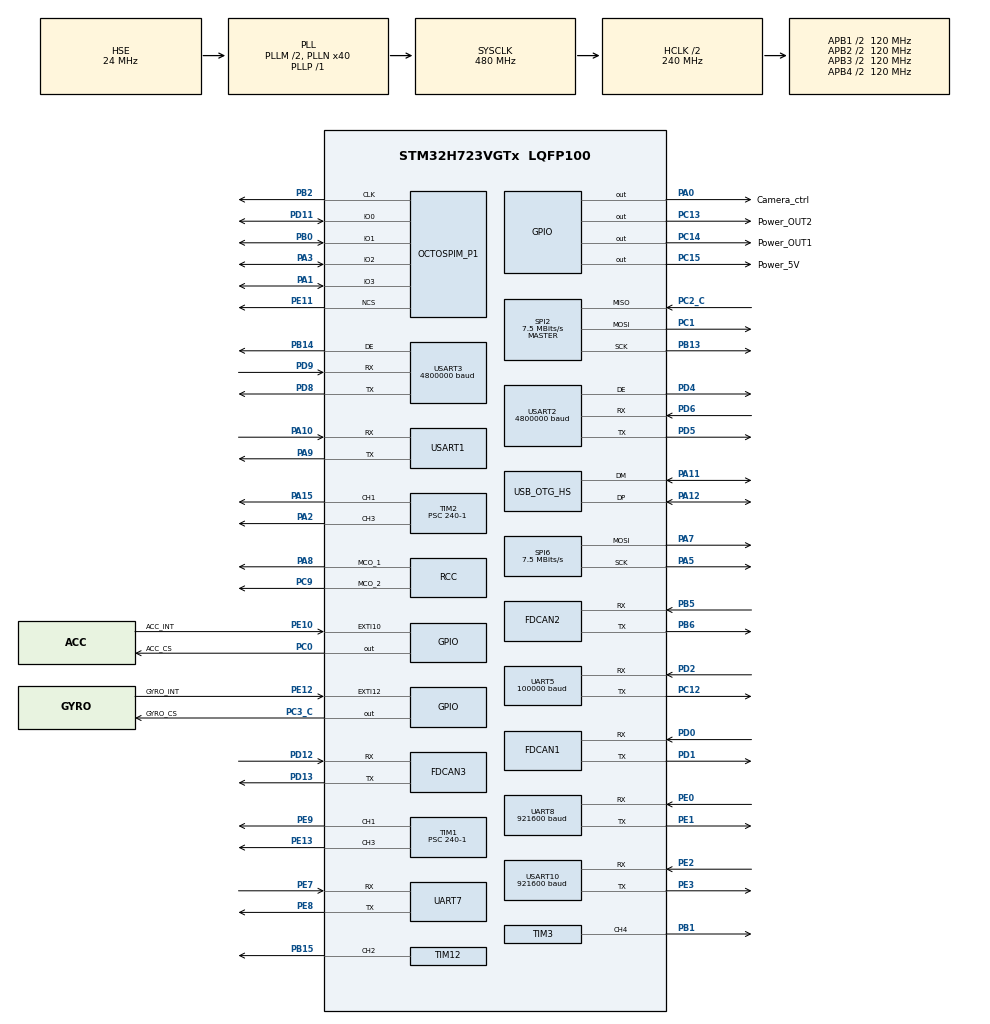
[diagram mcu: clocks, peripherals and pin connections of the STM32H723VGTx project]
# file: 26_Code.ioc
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CORTEX_M7.AccessPermission-Cortex_Memory_Protection_Unit_Region0_Settings=MPU_REGION_PRIV_RO
CORTEX_M7.AccessPermission-Cortex_Memory_Protection_Unit_Region1_Settings=MPU_REGION_FULL_ACCESS
CORTEX_M7.BaseAddress-Cortex_Memory_Protection_Unit_Region0_Settings=0x08000000
CORTEX_M7.BaseAddress-Cortex_Memory_Protection_Unit_Region1_Settings=0x20000000
CORTEX_M7.Enable-Cortex_Memory_Protection_Unit_Region0_Settings=MPU_REGION_ENABLE
CORTEX_M7.Enable-Cortex_Memory_Protection_Unit_Region1_Settings=MPU_REGION_ENABLE
CORTEX_M7.IsCacheable-Cortex_Memory_Protection_Unit_Region0_Settings=MPU_ACCESS_CACHEABLE
CORTEX_M7.MPU_Control=MPU_PRIVILEGED_DEFAULT
CORTEX_M7.Number-Cortex_Memory_Protection_Unit_Region1_Settings=MPU_REGION_NUMBER1
CORTEX_M7.Number-Cortex_Memory_Protection_Unit_Region2_Settings=MPU_REGION_NUMBER2
CORTEX_M7.Number-Cortex_Memory_Protection_Unit_Region3_Settings=MPU_REGION_NUMBER3
CORTEX_M7.Number-Cortex_Memory_Protection_Unit_Region4_Settings=MPU_REGION_NUMBER4
CORTEX_M7.Size-Cortex_Memory_Protection_Unit_Region0_Settings=MPU_REGION_SIZE_1MB
CORTEX_M7.Size-Cortex_Memory_Protection_Unit_Region1_Settings=MPU_REGION_SIZE_128MB
CORTEX_M7.SubRegionDisable-Cortex_Memory_Protection_Unit_Region1_Settings=0xEE
CORTEX_M7.TypeExtField-Cortex_Memory_Protection_Unit_Region0_Settings=MPU_TEX_LEVEL1
CORTEX_M7.TypeExtField-Cortex_Memory_Protection_Unit_Region1_Settings=MPU_TEX_LEVEL1
Dma.Request0=SPI2_RX
Dma.Request1=SPI2_TX
Dma.Request10=USART2_TX
Dma.Request11=USART1_RX
Dma.Request12=USART1_TX
Dma.Request13=UART8_RX
Dma.Request2=UART5_RX
Dma.Request3=UART7_RX
Dma.Request4=UART7_TX
Dma.Request5=USART10_RX
Dma.Request6=USART10_TX
Dma.Request7=USART3_RX
Dma.Request8=USART3_TX
Dma.Request9=USART2_RX
Dma.SPI2_RX.0.Direction=DMA_PERIPH_TO_MEMORY
Dma.SPI2_RX.0.EventEnable=DISABLE
Dma.SPI2_RX.0.FIFOMode=DMA_FIFOMODE_DISABLE
Dma.SPI2_RX.0.Instance=DMA1_Stream0
Dma.SPI2_RX.0.MemDataAlignment=DMA_MDATAALIGN_BYTE
Dma.SPI2_RX.0.MemInc=DMA_MINC_ENABLE
Dma.SPI2_RX.0.Mode=DMA_NORMAL
Dma.SPI2_RX.0.PeriphDataAlignment=DMA_PDATAALIGN_BYTE
Dma.SPI2_RX.0.PeriphInc=DMA_PINC_DISABLE
Dma.SPI2_RX.0.Polarity=HAL_DMAMUX_REQ_GEN_RISING
Dma.SPI2_RX.0.Priority=DMA_PRIORITY_VERY_HIGH
Dma.SPI2_RX.0.RequestNumber=1
Dma.SPI2_RX.0.SignalID=NONE
Dma.SPI2_RX.0.SyncEnable=DISABLE
Dma.SPI2_RX.0.SyncPolarity=HAL_DMAMUX_SYNC_NO_EVENT
Dma.SPI2_RX.0.SyncRequestNumber=1
Dma.SPI2_RX.0.SyncSignalID=NONE
Dma.SPI2_TX.1.Direction=DMA_MEMORY_TO_PERIPH
Dma.SPI2_TX.1.EventEnable=DISABLE
Dma.SPI2_TX.1.FIFOMode=DMA_FIFOMODE_DISABLE
Dma.SPI2_TX.1.Instance=DMA1_Stream1
Dma.SPI2_TX.1.MemDataAlignment=DMA_MDATAALIGN_BYTE
Dma.SPI2_TX.1.MemInc=DMA_MINC_ENABLE
Dma.SPI2_TX.1.Mode=DMA_NORMAL
Dma.SPI2_TX.1.PeriphDataAlignment=DMA_PDATAALIGN_BYTE
Dma.SPI2_TX.1.PeriphInc=DMA_PINC_DISABLE
Dma.SPI2_TX.1.Polarity=HAL_DMAMUX_REQ_GEN_RISING
Dma.SPI2_TX.1.Priority=DMA_PRIORITY_VERY_HIGH
Dma.SPI2_TX.1.RequestNumber=1
Dma.SPI2_TX.1.SignalID=NONE
Dma.SPI2_TX.1.SyncEnable=DISABLE
Dma.SPI2_TX.1.SyncPolarity=HAL_DMAMUX_SYNC_NO_EVENT
Dma.SPI2_TX.1.SyncRequestNumber=1
Dma.SPI2_TX.1.SyncSignalID=NONE
Dma.UART5_RX.2.Direction=DMA_PERIPH_TO_MEMORY
Dma.UART5_RX.2.EventEnable=DISABLE
Dma.UART5_RX.2.FIFOMode=DMA_FIFOMODE_DISABLE
Dma.UART5_RX.2.Instance=DMA1_Stream2
Dma.UART5_RX.2.MemDataAlignment=DMA_MDATAALIGN_BYTE
Dma.UART5_RX.2.MemInc=DMA_MINC_ENABLE
Dma.UART5_RX.2.Mode=DMA_NORMAL
Dma.UART5_RX.2.PeriphDataAlignment=DMA_PDATAALIGN_BYTE
Dma.UART5_RX.2.PeriphInc=DMA_PINC_DISABLE
Dma.UART5_RX.2.Polarity=HAL_DMAMUX_REQ_GEN_RISING
Dma.UART5_RX.2.Priority=DMA_PRIORITY_VERY_HIGH
Dma.UART5_RX.2.RequestNumber=1
Dma.UART5_RX.2.SignalID=NONE
Dma.UART5_RX.2.SyncEnable=DISABLE
Dma.UART5_RX.2.SyncPolarity=HAL_DMAMUX_SYNC_NO_EVENT
Dma.UART5_RX.2.SyncRequestNumber=1
Dma.UART5_RX.2.SyncSignalID=NONE
Dma.UART7_RX.3.Direction=DMA_PERIPH_TO_MEMORY
Dma.UART7_RX.3.EventEnable=DISABLE
Dma.UART7_RX.3.FIFOMode=DMA_FIFOMODE_DISABLE
Dma.UART7_RX.3.Instance=DMA1_Stream3
Dma.UART7_RX.3.MemDataAlignment=DMA_MDATAALIGN_BYTE
Dma.UART7_RX.3.MemInc=DMA_MINC_ENABLE
Dma.UART7_RX.3.Mode=DMA_NORMAL
Dma.UART7_RX.3.PeriphDataAlignment=DMA_PDATAALIGN_BYTE
Dma.UART7_RX.3.PeriphInc=DMA_PINC_DISABLE
Dma.UART7_RX.3.Polarity=HAL_DMAMUX_REQ_GEN_RISING
Dma.UART7_RX.3.Priority=DMA_PRIORITY_VERY_HIGH
Dma.UART7_RX.3.RequestNumber=1
Dma.UART7_RX.3.SignalID=NONE
Dma.UART7_RX.3.SyncEnable=DISABLE
Dma.UART7_RX.3.SyncPolarity=HAL_DMAMUX_SYNC_NO_EVENT
Dma.UART7_RX.3.SyncRequestNumber=1
Dma.UART7_RX.3.SyncSignalID=NONE
Dma.UART7_TX.4.Direction=DMA_MEMORY_TO_PERIPH
Dma.UART7_TX.4.EventEnable=DISABLE
Dma.UART7_TX.4.FIFOMode=DMA_FIFOMODE_DISABLE
Dma.UART7_TX.4.Instance=DMA1_Stream4
Dma.UART7_TX.4.MemDataAlignment=DMA_MDATAALIGN_BYTE
Dma.UART7_TX.4.MemInc=DMA_MINC_ENABLE
Dma.UART7_TX.4.Mode=DMA_NORMAL
Dma.UART7_TX.4.PeriphDataAlignment=DMA_PDATAALIGN_BYTE
Dma.UART7_TX.4.PeriphInc=DMA_PINC_DISABLE
Dma.UART7_TX.4.Polarity=HAL_DMAMUX_REQ_GEN_RISING
Dma.UART7_TX.4.Priority=DMA_PRIORITY_VERY_HIGH
Dma.UART7_TX.4.RequestNumber=1
Dma.UART7_TX.4.SignalID=NONE
Dma.UART7_TX.4.SyncEnable=DISABLE
Dma.UART7_TX.4.SyncPolarity=HAL_DMAMUX_SYNC_NO_EVENT
Dma.UART7_TX.4.SyncRequestNumber=1
Dma.UART7_TX.4.SyncSignalID=NONE
Dma.UART8_RX.13.Direction=DMA_PERIPH_TO_MEMORY
Dma.UART8_RX.13.EventEnable=DISABLE
Dma.UART8_RX.13.FIFOMode=DMA_FIFOMODE_DISABLE
Dma.UART8_RX.13.Instance=DMA2_Stream5
Dma.UART8_RX.13.MemDataAlignment=DMA_MDATAALIGN_BYTE
Dma.UART8_RX.13.MemInc=DMA_MINC_ENABLE
Dma.UART8_RX.13.Mode=DMA_NORMAL
Dma.UART8_RX.13.PeriphDataAlignment=DMA_PDATAALIGN_BYTE
Dma.UART8_RX.13.PeriphInc=DMA_PINC_DISABLE
Dma.UART8_RX.13.Polarity=HAL_DMAMUX_REQ_GEN_RISING
Dma.UART8_RX.13.Priority=DMA_PRIORITY_VERY_HIGH
Dma.UART8_RX.13.RequestNumber=1
Dma.UART8_RX.13.SignalID=NONE
Dma.UART8_RX.13.SyncEnable=DISABLE
Dma.UART8_RX.13.SyncPolarity=HAL_DMAMUX_SYNC_NO_EVENT
Dma.UART8_RX.13.SyncRequestNumber=1
Dma.UART8_RX.13.SyncSignalID=NONE
Dma.USART10_RX.5.Direction=DMA_PERIPH_TO_MEMORY
Dma.USART10_RX.5.EventEnable=DISABLE
Dma.USART10_RX.5.FIFOMode=DMA_FIFOMODE_DISABLE
Dma.USART10_RX.5.Instance=DMA1_Stream5
Dma.USART10_RX.5.MemDataAlignment=DMA_MDATAALIGN_BYTE
Dma.USART10_RX.5.MemInc=DMA_MINC_ENABLE
Dma.USART10_RX.5.Mode=DMA_NORMAL
Dma.USART10_RX.5.PeriphDataAlignment=DMA_PDATAALIGN_BYTE
Dma.USART10_RX.5.PeriphInc=DMA_PINC_DISABLE
Dma.USART10_RX.5.Polarity=HAL_DMAMUX_REQ_GEN_RISING
Dma.USART10_RX.5.Priority=DMA_PRIORITY_VERY_HIGH
Dma.USART10_RX.5.RequestNumber=1
Dma.USART10_RX.5.SignalID=NONE
Dma.USART10_RX.5.SyncEnable=DISABLE
Dma.USART10_RX.5.SyncPolarity=HAL_DMAMUX_SYNC_NO_EVENT
Dma.USART10_RX.5.SyncRequestNumber=1
Dma.USART10_RX.5.SyncSignalID=NONE
Dma.USART10_TX.6.Direction=DMA_MEMORY_TO_PERIPH
Dma.USART10_TX.6.EventEnable=DISABLE
Dma.USART10_TX.6.FIFOMode=DMA_FIFOMODE_DISABLE
Dma.USART10_TX.6.Instance=DMA1_Stream6
Dma.USART10_TX.6.MemDataAlignment=DMA_MDATAALIGN_BYTE
Dma.USART10_TX.6.MemInc=DMA_MINC_ENABLE
Dma.USART10_TX.6.Mode=DMA_NORMAL
Dma.USART10_TX.6.PeriphDataAlignment=DMA_PDATAALIGN_BYTE
Dma.USART10_TX.6.PeriphInc=DMA_PINC_DISABLE
Dma.USART10_TX.6.Polarity=HAL_DMAMUX_REQ_GEN_RISING
Dma.USART10_TX.6.Priority=DMA_PRIORITY_VERY_HIGH
Dma.USART10_TX.6.RequestNumber=1
Dma.USART10_TX.6.SignalID=NONE
Dma.USART10_TX.6.SyncEnable=DISABLE
Dma.USART10_TX.6.SyncPolarity=HAL_DMAMUX_SYNC_NO_EVENT
Dma.USART10_TX.6.SyncRequestNumber=1
Dma.USART10_TX.6.SyncSignalID=NONE
Dma.USART1_RX.11.Direction=DMA_PERIPH_TO_MEMORY
Dma.USART1_RX.11.EventEnable=DISABLE
Dma.USART1_RX.11.FIFOMode=DMA_FIFOMODE_DISABLE
Dma.USART1_RX.11.Instance=DMA2_Stream3
Dma.USART1_RX.11.MemDataAlignment=DMA_MDATAALIGN_BYTE
Dma.USART1_RX.11.MemInc=DMA_MINC_ENABLE
Dma.USART1_RX.11.Mode=DMA_NORMAL
Dma.USART1_RX.11.PeriphDataAlignment=DMA_PDATAALIGN_BYTE
Dma.USART1_RX.11.PeriphInc=DMA_PINC_DISABLE
Dma.USART1_RX.11.Polarity=HAL_DMAMUX_REQ_GEN_RISING
Dma.USART1_RX.11.Priority=DMA_PRIORITY_LOW
Dma.USART1_RX.11.RequestNumber=1
Dma.USART1_RX.11.SignalID=NONE
Dma.USART1_RX.11.SyncEnable=DISABLE
Dma.USART1_RX.11.SyncPolarity=HAL_DMAMUX_SYNC_NO_EVENT
Dma.USART1_RX.11.SyncRequestNumber=1
Dma.USART1_RX.11.SyncSignalID=NONE
Dma.USART1_TX.12.Direction=DMA_MEMORY_TO_PERIPH
Dma.USART1_TX.12.EventEnable=DISABLE
Dma.USART1_TX.12.FIFOMode=DMA_FIFOMODE_DISABLE
Dma.USART1_TX.12.Instance=DMA2_Stream4
Dma.USART1_TX.12.MemDataAlignment=DMA_MDATAALIGN_BYTE
Dma.USART1_TX.12.MemInc=DMA_MINC_ENABLE
Dma.USART1_TX.12.Mode=DMA_NORMAL
Dma.USART1_TX.12.PeriphDataAlignment=DMA_PDATAALIGN_BYTE
Dma.USART1_TX.12.PeriphInc=DMA_PINC_DISABLE
Dma.USART1_TX.12.Polarity=HAL_DMAMUX_REQ_GEN_RISING
Dma.USART1_TX.12.Priority=DMA_PRIORITY_LOW
Dma.USART1_TX.12.RequestNumber=1
Dma.USART1_TX.12.SignalID=NONE
Dma.USART1_TX.12.SyncEnable=DISABLE
Dma.USART1_TX.12.SyncPolarity=HAL_DMAMUX_SYNC_NO_EVENT
Dma.USART1_TX.12.SyncRequestNumber=1
Dma.USART1_TX.12.SyncSignalID=NONE
Dma.USART2_RX.9.Direction=DMA_PERIPH_TO_MEMORY
Dma.USART2_RX.9.EventEnable=DISABLE
Dma.USART2_RX.9.FIFOMode=DMA_FIFOMODE_DISABLE
Dma.USART2_RX.9.Instance=DMA2_Stream1
Dma.USART2_RX.9.MemDataAlignment=DMA_MDATAALIGN_BYTE
Dma.USART2_RX.9.MemInc=DMA_MINC_ENABLE
Dma.USART2_RX.9.Mode=DMA_NORMAL
Dma.USART2_RX.9.PeriphDataAlignment=DMA_PDATAALIGN_BYTE
Dma.USART2_RX.9.PeriphInc=DMA_PINC_DISABLE
Dma.USART2_RX.9.Polarity=HAL_DMAMUX_REQ_GEN_RISING
Dma.USART2_RX.9.Priority=DMA_PRIORITY_VERY_HIGH
Dma.USART2_RX.9.RequestNumber=1
Dma.USART2_RX.9.SignalID=NONE
Dma.USART2_RX.9.SyncEnable=DISABLE
Dma.USART2_RX.9.SyncPolarity=HAL_DMAMUX_SYNC_NO_EVENT
Dma.USART2_RX.9.SyncRequestNumber=1
Dma.USART2_RX.9.SyncSignalID=NONE
Dma.USART2_TX.10.Direction=DMA_MEMORY_TO_PERIPH
Dma.USART2_TX.10.EventEnable=DISABLE
Dma.USART2_TX.10.FIFOMode=DMA_FIFOMODE_DISABLE
Dma.USART2_TX.10.Instance=DMA2_Stream2
Dma.USART2_TX.10.MemDataAlignment=DMA_MDATAALIGN_BYTE
Dma.USART2_TX.10.MemInc=DMA_MINC_ENABLE
Dma.USART2_TX.10.Mode=DMA_NORMAL
Dma.USART2_TX.10.PeriphDataAlignment=DMA_PDATAALIGN_BYTE
Dma.USART2_TX.10.PeriphInc=DMA_PINC_DISABLE
Dma.USART2_TX.10.Polarity=HAL_DMAMUX_REQ_GEN_RISING
Dma.USART2_TX.10.Priority=DMA_PRIORITY_VERY_HIGH
Dma.USART2_TX.10.RequestNumber=1
Dma.USART2_TX.10.SignalID=NONE
Dma.USART2_TX.10.SyncEnable=DISABLE
Dma.USART2_TX.10.SyncPolarity=HAL_DMAMUX_SYNC_NO_EVENT
Dma.USART2_TX.10.SyncRequestNumber=1
Dma.USART2_TX.10.SyncSignalID=NONE
Dma.USART3_RX.7.Direction=DMA_PERIPH_TO_MEMORY
Dma.USART3_RX.7.EventEnable=DISABLE
Dma.USART3_RX.7.FIFOMode=DMA_FIFOMODE_DISABLE
Dma.USART3_RX.7.Instance=DMA1_Stream7
Dma.USART3_RX.7.MemDataAlignment=DMA_MDATAALIGN_BYTE
Dma.USART3_RX.7.MemInc=DMA_MINC_ENABLE
Dma.USART3_RX.7.Mode=DMA_NORMAL
Dma.USART3_RX.7.PeriphDataAlignment=DMA_PDATAALIGN_BYTE
Dma.USART3_RX.7.PeriphInc=DMA_PINC_DISABLE
Dma.USART3_RX.7.Polarity=HAL_DMAMUX_REQ_GEN_RISING
Dma.USART3_RX.7.Priority=DMA_PRIORITY_VERY_HIGH
Dma.USART3_RX.7.RequestNumber=1
Dma.USART3_RX.7.SignalID=NONE
Dma.USART3_RX.7.SyncEnable=DISABLE
Dma.USART3_RX.7.SyncPolarity=HAL_DMAMUX_SYNC_NO_EVENT
Dma.USART3_RX.7.SyncRequestNumber=1
Dma.USART3_RX.7.SyncSignalID=NONE
Dma.USART3_TX.8.Direction=DMA_MEMORY_TO_PERIPH
Dma.USART3_TX.8.EventEnable=DISABLE
Dma.USART3_TX.8.FIFOMode=DMA_FIFOMODE_DISABLE
Dma.USART3_TX.8.Instance=DMA2_Stream0
Dma.USART3_TX.8.MemDataAlignment=DMA_MDATAALIGN_BYTE
Dma.USART3_TX.8.MemInc=DMA_MINC_ENABLE
Dma.USART3_TX.8.Mode=DMA_NORMAL
Dma.USART3_TX.8.PeriphDataAlignment=DMA_PDATAALIGN_BYTE
Dma.USART3_TX.8.PeriphInc=DMA_PINC_DISABLE
Dma.USART3_TX.8.Polarity=HAL_DMAMUX_REQ_GEN_RISING
Dma.USART3_TX.8.Priority=DMA_PRIORITY_VERY_HIGH
Dma.USART3_TX.8.RequestNumber=1
Dma.USART3_TX.8.SignalID=NONE
Dma.USART3_TX.8.SyncEnable=DISABLE
Dma.USART3_TX.8.SyncPolarity=HAL_DMAMUX_SYNC_NO_EVENT
Dma.USART3_TX.8.SyncRequestNumber=1
Dma.USART3_TX.8.SyncSignalID=NONE
FDCAN1.AutoRetransmission=DISABLE
FDCAN1.CalculateBaudRateNominal=1000000
FDCAN1.CalculateTimeBitNominal=1000
FDCAN1.CalculateTimeQuantumNominal=25.0
FDCAN1.DataPrescaler=3
FDCAN1.DataSyncJumpWidth=10
FDCAN1.DataTimeSeg1=29
FDCAN1.DataTimeSeg2=10
FDCAN1.NominalPrescaler=3
FDCAN1.NominalSyncJumpWidth=10
FDCAN1.NominalTimeSeg1=29
FDCAN1.NominalTimeSeg2=10
FDCAN1.RxFifo0ElmtsNbr=4
FDCAN1.StdFiltersNbr=1
FDCAN1.TxFifoQueueElmtsNbr=32
FDCAN2.AutoRetransmission=DISABLE
FDCAN2.CalculateBaudRateNominal=1000000
FDCAN2.CalculateTimeBitNominal=1000
FDCAN2.CalculateTimeQuantumNominal=25.0
FDCAN2.DataPrescaler=3
FDCAN2.DataSyncJumpWidth=10
FDCAN2.DataTimeSeg1=29
FDCAN2.DataTimeSeg2=10
FDCAN2.MessageRAMOffset=0x406
FDCAN2.NominalPrescaler=3
FDCAN2.NominalSyncJumpWidth=10
FDCAN2.NominalTimeSeg1=29
FDCAN2.NominalTimeSeg2=10
FDCAN2.RxFifo0ElmtsNbr=4
FDCAN2.StdFiltersNbr=1
FDCAN2.TxFifoQueueElmtsNbr=32
FDCAN3.AutoRetransmission=DISABLE
FDCAN3.CalculateBaudRateNominal=1000000
FDCAN3.CalculateTimeBitNominal=1000
FDCAN3.CalculateTimeQuantumNominal=25.0
FDCAN3.DataPrescaler=3
FDCAN3.DataSyncJumpWidth=10
FDCAN3.DataTimeSeg1=29
FDCAN3.DataTimeSeg2=10
FDCAN3.MessageRAMOffset=0x812
FDCAN3.NominalPrescaler=3
FDCAN3.NominalSyncJumpWidth=10
FDCAN3.NominalTimeSeg1=29
FDCAN3.NominalTimeSeg2=10
FDCAN3.RxFifo0ElmtsNbr=4
FDCAN3.StdFiltersNbr=1
FDCAN3.TxFifoQueueElmtsNbr=32
FREERTOS.Tasks01=Remote_control,24,512,Remote_control_Task,Default,NULL,Dynamic,NULL,NULL;Gimbal,8,512,Gimbal_Task,Default,NULL,Dynamic,NULL,NULL;Chassis,8,1024,Chassis_Task,Default,NULL,Dynamic,NULL,NULL;Motor_control,8,256,Motor_control_Task,Default,NULL,Dynamic,NULL,NULL;Shoot,8,256,Shoot_Task,Default,NULL,Dynamic,NULL,NULL;Referee,8,512,Referee_Task,Default,NULL,Dynamic,NULL,NULL;Log_and_debug,8,256,Log_and_debug_Task,Default,NULL,Dynamic,NULL,NULL
FREERTOS.configENABLE_FPU=1
FREERTOS.configUSE_IDLE_HOOK=1
Mcu.Family=STM32H7
Mcu.Name=STM32H723VGTx
Mcu.Package=LQFP100
NVIC.DMA1_Stream0_IRQn=true\:5\:0\:false\:false\:true\:true\:false\:true\:true
NVIC.DMA1_Stream1_IRQn=true\:5\:0\:false\:false\:true\:true\:false\:true\:true
NVIC.DMA1_Stream2_IRQn=true\:5\:0\:false\:false\:true\:true\:false\:true\:true
NVIC.DMA1_Stream3_IRQn=true\:5\:0\:true\:false\:true\:true\:false\:true\:true
NVIC.DMA1_Stream4_IRQn=true\:5\:0\:true\:false\:true\:true\:false\:true\:true
NVIC.DMA1_Stream5_IRQn=true\:5\:0\:false\:false\:true\:true\:false\:true\:true
NVIC.DMA1_Stream6_IRQn=true\:5\:0\:false\:false\:true\:true\:false\:true\:true
NVIC.DMA1_Stream7_IRQn=true\:5\:0\:false\:false\:true\:true\:false\:true\:true
NVIC.DMA2_Stream0_IRQn=true\:5\:0\:false\:false\:true\:true\:false\:true\:true
NVIC.DMA2_Stream1_IRQn=true\:5\:0\:false\:false\:true\:true\:false\:true\:true
NVIC.DMA2_Stream2_IRQn=true\:5\:0\:false\:false\:true\:true\:false\:true\:true
NVIC.DMA2_Stream3_IRQn=true\:5\:0\:false\:false\:true\:true\:false\:true\:true
NVIC.DMA2_Stream4_IRQn=true\:5\:0\:false\:false\:true\:true\:false\:true\:true
NVIC.DMA2_Stream5_IRQn=true\:5\:0\:false\:false\:true\:true\:false\:true\:true
NVIC.FDCAN1_IT0_IRQn=true\:5\:0\:false\:false\:true\:true\:true\:true\:true
NVIC.FDCAN1_IT1_IRQn=true\:5\:0\:false\:false\:true\:true\:true\:true\:true
NVIC.FDCAN2_IT0_IRQn=true\:5\:0\:false\:false\:true\:true\:true\:true\:true
NVIC.FDCAN2_IT1_IRQn=true\:5\:0\:false\:false\:true\:true\:true\:true\:true
NVIC.FDCAN3_IT0_IRQn=true\:5\:0\:false\:false\:true\:true\:true\:true\:true
NVIC.FDCAN3_IT1_IRQn=true\:5\:0\:false\:false\:true\:true\:true\:true\:true
NVIC.OTG_HS_IRQn=true\:5\:0\:false\:false\:true\:true\:true\:true\:true
NVIC.PriorityGroup=NVIC_PRIORITYGROUP_4
NVIC.SPI2_IRQn=true\:5\:0\:false\:false\:true\:true\:true\:true\:true
NVIC.TIM23_IRQn=true\:15\:0\:true\:false\:true\:false\:false\:true\:true
NVIC.TIM8_BRK_TIM12_IRQn=true\:5\:0\:false\:false\:true\:true\:true\:true\:true
NVIC.TIM8_TRG_COM_TIM14_IRQn=true\:5\:0\:false\:false\:true\:true\:true\:true\:true
NVIC.TIM8_UP_TIM13_IRQn=true\:5\:0\:false\:false\:true\:true\:true\:true\:true
NVIC.TimeBase=TIM23_IRQn
NVIC.TimeBaseIP=TIM23
NVIC.UART5_IRQn=true\:5\:0\:false\:false\:true\:true\:true\:true\:true
NVIC.UART7_IRQn=true\:5\:0\:true\:false\:true\:true\:true\:true\:true
NVIC.UART8_IRQn=true\:5\:0\:false\:false\:true\:true\:true\:true\:true
NVIC.USART10_IRQn=true\:5\:0\:false\:false\:true\:true\:true\:true\:true
NVIC.USART1_IRQn=true\:5\:0\:false\:false\:true\:true\:true\:true\:true
NVIC.USART2_IRQn=true\:5\:0\:false\:false\:true\:true\:true\:true\:true
NVIC.USART3_IRQn=true\:5\:0\:false\:false\:true\:true\:true\:true\:true
OCTOSPI2.ClockMode=HAL_OSPI_CLOCK_MODE_3
OCTOSPI2.ClockPrescaler=3
OCTOSPI2.DeviceSize=23
OCTOSPI2.DeviceType=SPI_DEVICE_FLASH
OCTOSPI2.FifoThreshold=8
OCTOSPI2.SampleShifting=HAL_OSPI_SAMPLE_SHIFTING_HALFCYCLE
PA0.GPIO_Label=Camera_ctrl
PA0.GPIO_PuPd=GPIO_PULLDOWN
PA0.GPIO_Speed=GPIO_SPEED_FREQ_VERY_HIGH
PA0.PinState=GPIO_PIN_SET
PA0.Signal=GPIO_Output
PA1.Mode=OCTOSPI2_IOL_Port1L
PA1.Signal=OCTOSPIM_P1_IO3
PA10.Mode=Asynchronous
PA10.Signal=USART1_RX
PA11.Mode=Device_Only_FS
PA11.Signal=USB_OTG_HS_DM
PA12.Mode=Device_Only_FS
PA12.Signal=USB_OTG_HS_DP
PA13(JTMS/SWDIO).Mode=Serial_Wire
PA13(JTMS/SWDIO).Signal=DEBUG_JTMS-SWDIO
PA14(JTCK/SWCLK).Mode=Serial_Wire
PA14(JTCK/SWCLK).Signal=DEBUG_JTCK-SWCLK
PA15(JTDI).Signal=S_TIM2_CH1_ETR
PA2.Signal=S_TIM2_CH3
PA3.Mode=OCTOSPI2_IOL_Port1L
PA3.Signal=OCTOSPIM_P1_IO2
PA5.GPIO_Speed=GPIO_SPEED_FREQ_VERY_HIGH
PA5.Mode=TX_Only_Simplex_Unidirect_Master
PA5.Signal=SPI6_SCK
PA7.Mode=TX_Only_Simplex_Unidirect_Master
PA7.Signal=SPI6_MOSI
PA8.Mode=Clock-out-1
PA8.Signal=RCC_MCO_1
PA9.Mode=Asynchronous
PA9.Signal=USART1_TX
PB0.Mode=OCTOSPI2_IOL_Port1L
PB0.Signal=OCTOSPIM_P1_IO1
PB1.Signal=S_TIM3_CH4
PB13.Mode=Full_Duplex_Master
PB13.Signal=SPI2_SCK
PB14.Mode=Hardware Flow Control (RS485)
PB14.Signal=USART3_DE
PB15.Signal=S_TIM12_CH2
PB2.Mode=O2_P1_CLK
PB2.Signal=OCTOSPIM_P1_CLK
PB5.Mode=FDCAN_Activate
PB5.Signal=FDCAN2_RX
PB6.Mode=FDCAN_Activate
PB6.Signal=FDCAN2_TX
PC0.GPIO_Label=ACC_CS
PC0.GPIO_Speed=GPIO_SPEED_FREQ_VERY_HIGH
PC0.PinState=GPIO_PIN_SET
PC0.Signal=GPIO_Output
PC1.Mode=Full_Duplex_Master
PC1.Signal=SPI2_MOSI
PC12.Mode=Asynchronous
PC12.Signal=UART5_TX
PC13.GPIO_Label=Power_OUT2
PC13.PinState=GPIO_PIN_SET
PC13.Signal=GPIO_Output
PC14-OSC32_IN.GPIO_Label=Power_OUT1
PC14-OSC32_IN.PinState=GPIO_PIN_SET
PC14-OSC32_IN.Signal=GPIO_Output
PC15-OSC32_OUT.GPIO_Label=Power_5V
PC15-OSC32_OUT.Signal=GPIO_Output
PC2_C.Mode=Full_Duplex_Master
PC2_C.Signal=SPI2_MISO
PC3_C.GPIO_Label=GYRO_CS
PC3_C.GPIO_Speed=GPIO_SPEED_FREQ_VERY_HIGH
PC3_C.PinState=GPIO_PIN_SET
PC3_C.Signal=GPIO_Output
PC9.Mode=Clock-out-2
PC9.Signal=RCC_MCO_2
PD0.Mode=FDCAN_Activate
PD0.Signal=FDCAN1_RX
PD1.Mode=FDCAN_Activate
PD1.Signal=FDCAN1_TX
PD11.Mode=OCTOSPI2_IOL_Port1L
PD11.Signal=OCTOSPIM_P1_IO0
PD12.Mode=FDCAN_Activate
PD12.Signal=FDCAN3_RX
PD13.Mode=FDCAN_Activate
PD13.Signal=FDCAN3_TX
PD2.Mode=Asynchronous
PD2.Signal=UART5_RX
PD4.Mode=Hardware Flow Control (RS485)
PD4.Signal=USART2_DE
PD5.Mode=Asynchronous
PD5.Signal=USART2_TX
PD6.Mode=Asynchronous
PD6.Signal=USART2_RX
PD8.Mode=Asynchronous
PD8.Signal=USART3_TX
PD9.Mode=Asynchronous
PD9.Signal=USART3_RX
PE0.GPIO_Speed=GPIO_SPEED_FREQ_VERY_HIGH
PE0.Mode=Asynchronous
PE0.Signal=UART8_RX
PE1.GPIO_Speed=GPIO_SPEED_FREQ_VERY_HIGH
PE1.Mode=Asynchronous
PE1.Signal=UART8_TX
PE10.GPIO_Label=ACC_INT
PE10.Signal=GPXTI10
PE11.Mode=OCTOSPI2_Port1_NCS
PE11.Signal=OCTOSPIM_P1_NCS
PE12.GPIO_Label=GYRO_INT
PE12.Signal=GPXTI12
PE13.Signal=S_TIM1_CH3
PE2.GPIO_Speed=GPIO_SPEED_FREQ_VERY_HIGH
PE2.Mode=Asynchronous
PE2.Signal=USART10_RX
PE3.GPIO_Speed=GPIO_SPEED_FREQ_VERY_HIGH
PE3.Mode=Asynchronous
PE3.Signal=USART10_TX
PE7.GPIO_Speed=GPIO_SPEED_FREQ_VERY_HIGH
PE7.Mode=Asynchronous
PE7.Signal=UART7_RX
PE8.GPIO_Speed=GPIO_SPEED_FREQ_VERY_HIGH
PE8.Mode=Asynchronous
PE8.Signal=UART7_TX
PE9.Signal=S_TIM1_CH1
PH0-OSC_IN.Mode=HSE-External-Oscillator
PH0-OSC_IN.Signal=RCC_OSC_IN
PH1-OSC_OUT.Mode=HSE-External-Oscillator
PH1-OSC_OUT.Signal=RCC_OSC_OUT
ProjectManager.HeapSize=0x200
ProjectManager.StackSize=0x400
ProjectManager.TargetToolchain=Makefile
RCC.ADCFreq_Value=48375000
RCC.APB1Freq_Value=120000000
RCC.APB2Freq_Value=120000000
RCC.APB3Freq_Value=120000000
RCC.APB4Freq_Value=120000000
RCC.CortexFreq_Value=480000000
RCC.D1PPRE=RCC_APB3_DIV2
RCC.D2PPRE1=RCC_APB1_DIV2
RCC.D2PPRE2=RCC_APB2_DIV2
RCC.D3PPRE=RCC_APB4_DIV2
RCC.DIVM1=2
RCC.DIVN1=40
RCC.DIVP1=1
RCC.DIVQ1=4
RCC.HCLKFreq_Value=240000000
RCC.HPRE=RCC_HCLK_DIV2
RCC.HSE_VALUE=24000000
RCC.PLLFRACN=0
RCC.PLLSourceVirtual=RCC_PLLSOURCE_HSE
RCC.SYSCLKFreq_VALUE=480000000
RCC.SYSCLKSource=RCC_SYSCLKSOURCE_PLLCLK
RCC.USBCLockSelection=RCC_USBCLKSOURCE_HSI48
RCC.USBFreq_Value=48000000
SH.S_TIM12_CH2.0=TIM12_CH2,PWM Generation2 CH2
SH.S_TIM1_CH1.0=TIM1_CH1,PWM Generation1 CH1
SH.S_TIM1_CH3.0=TIM1_CH3,PWM Generation3 CH3
SH.S_TIM2_CH1_ETR.0=TIM2_CH1,PWM Generation1 CH1
SH.S_TIM2_CH3.0=TIM2_CH3,PWM Generation3 CH3
SH.S_TIM3_CH4.0=TIM3_CH4,PWM Generation4 CH4
SPI2.BaudRatePrescaler=SPI_BAUDRATEPRESCALER_16
SPI2.CLKPhase=SPI_PHASE_2EDGE
SPI2.CLKPolarity=SPI_POLARITY_HIGH
SPI2.CalculateBaudRate=7.5 MBits/s
SPI2.DataSize=SPI_DATASIZE_8BIT
SPI2.Direction=SPI_DIRECTION_2LINES
SPI2.Mode=SPI_MODE_MASTER
SPI2.VirtualType=VM_MASTER
SPI6.BaudRatePrescaler=SPI_BAUDRATEPRESCALER_16
SPI6.CLKPhase=SPI_PHASE_2EDGE
SPI6.CLKPolarity=SPI_POLARITY_HIGH
SPI6.CalculateBaudRate=7.5 MBits/s
SPI6.DataSize=SPI_DATASIZE_8BIT
SPI6.Direction=SPI_DIRECTION_2LINES_TXONLY
SPI6.Mode=SPI_MODE_MASTER
SPI6.VirtualType=VM_MASTER
TIM1.Channel-PWM\ Generation1\ CH1=TIM_CHANNEL_1
TIM1.Channel-PWM\ Generation3\ CH3=TIM_CHANNEL_3
TIM1.Period=2000-1
TIM1.Prescaler=240-1
TIM12.Channel-PWM\ Generation2\ CH2=TIM_CHANNEL_2
TIM12.Period=250-1
TIM12.Prescaler=240-1
TIM13.AutoReloadPreload=TIM_AUTORELOAD_PRELOAD_ENABLE
TIM13.Period=100-1
TIM13.Prescaler=2400-1
TIM14.Period=500-1
TIM14.Prescaler=2400-1
TIM2.Channel-PWM\ Generation1\ CH1=TIM_CHANNEL_1
TIM2.Channel-PWM\ Generation3\ CH3=TIM_CHANNEL_3
TIM2.Period=2000-1
TIM2.Prescaler=240-1
TIM3.Channel-PWM\ Generation4\ CH4=TIM_CHANNEL_4
TIM3.Period=20000-1
TIM3.Prescaler=240-1
UART5.BaudRate=100000
UART5.Parity=PARITY_EVEN
UART5.StopBits=UART_STOPBITS_1
UART5.WordLength=WORDLENGTH_9B
UART8.BaudRate=921600
UART8.Mode=MODE_RX
USART1.VirtualMode-Asynchronous=VM_ASYNC
USART10.BaudRate=921600
USART10.VirtualMode=VM_ASYNC
USART2.BaudRate=4800000
USART2.VirtualMode-Asynchronous=VM_ASYNC
USART2.VirtualMode-Hardware\ Flow\ Control\ (RS485)=VM_ASYNC
USART3.BaudRate=4800000
USART3.VirtualMode-Asynchronous=VM_ASYNC
USART3.VirtualMode-Hardware\ Flow\ Control\ (RS485)=VM_ASYNC
USB_DEVICE.CLASS_NAME_HS=CDC
USB_DEVICE.VirtualMode=Cdc
USB_DEVICE.VirtualModeHS=Cdc_HS
USB_OTG_HS.VirtualMode-Device_Only_FS=Device_Only_FS
VP_FREERTOS_VS_CMSIS_V2.Mode=CMSIS_V2
VP_IWDG1_VS_IWDG.Mode=IWDG_Activate
VP_MEMORYMAP_VS_MEMORYMAP.Mode=CurAppReg
VP_OCTOSPI2_VS_quad.Mode=quad_mode
VP_SYS_VS_tim23.Mode=TIM23
VP_TIM12_VS_ClockSourceINT.Mode=Internal
VP_TIM13_VS_ClockSourceINT.Mode=Enable_Timer
VP_TIM14_VS_ClockSourceINT.Mode=Enable_Timer
VP_USB_DEVICE_VS_USB_DEVICE_CDC_HS.Mode=CDC_HS
board=custom

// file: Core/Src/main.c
/* USER CODE BEGIN Header */
/**
 ******************************************************************************
 * @file           : main.c
 * @brief          : Main program body
 ******************************************************************************
 * @attention
 *
 * Copyright (c) 2025 STMicroelectronics.
 * All rights reserved.
 *
 * This software is licensed under terms that can be found in the LICENSE file
 * in the root directory of this software component.
 * If no LICENSE file comes with this software, it is provided AS-IS.
 *
 ******************************************************************************
 */
/* USER CODE END Header */
#include "main.h"
#include "cmsis_os.h"
#include "dma.h"
#include "fdcan.h"
#include "iwdg.h"
#include "octospi.h"
#include "spi.h"
#include "tim.h"
#include "usart.h"
#include "usb_device.h"
#include "gpio.h"

/* USER CODE BEGIN Includes */
#include "UART_data_txrx.h"
#include "CAN_receive_send.h"

#include "motor.h"
#include "supercup.h"
#include "IMU_updata.h"
#include "dm_imu.h"
#include "LED.h"
#include "Power_switch.h"
#include "referee_system.h"

#include "music.h"
#include "Chassis.h"
#include "Gimbal.h"
#include "shoot.h"
#include "Auto_control.h"
#include "Global_status.h"

/* USER CODE END Includes */

/* USER CODE BEGIN PV */
static uint32_t tick_ms = 0;
/* USER CODE END PV */

void SystemClock_Config(void);
static void MPU_Config(void);
void MX_FREERTOS_Init(void);

/* USER CODE BEGIN 0 */
HAL_StatusTypeDef ITsta;
extern DMA_HandleTypeDef hdma_uart7_rx;
/* USER CODE END 0 */

int main(void)
{

  /* MPU Configuration--------------------------------------------------------*/
  MPU_Config();

  /* MCU Configuration--------------------------------------------------------*/

  /* Reset of all peripherals, Initializes the Flash interface and the Systick. */
  HAL_Init();

  /* Configure the system clock */
  SystemClock_Config();

  /* Initialize all configured peripherals */
  MX_GPIO_Init();
  MX_DMA_Init();
  MX_FDCAN1_Init();
  MX_FDCAN2_Init();
  MX_SPI2_Init();
  MX_TIM3_Init();
  MX_TIM13_Init();
  MX_TIM14_Init();
  MX_SPI6_Init();
  MX_UART5_Init();
  MX_UART7_Init();
  MX_USART10_UART_Init();
  MX_FDCAN3_Init();
  MX_OCTOSPI2_Init();
  MX_IWDG1_Init();
  MX_USART2_UART_Init();
  MX_USART3_UART_Init();
  MX_USART1_UART_Init();
  MX_TIM12_Init();
  MX_TIM1_Init();
  MX_TIM2_Init();
  MX_UART8_Init();
  /* USER CODE BEGIN 2 */
  HAL_IWDG_Refresh(&hiwdg1);
  /*INIT*/
  Uart_Init();
  Can_Init();
  Refree_system_init();
  imu_init(0x01, 0x11, &hfdcan3, &dm_imu_gimbal);
  imu_change_to_request(&dm_imu_gimbal);
  HAL_IWDG_Refresh(&hiwdg1);
  HAL_GPIO_WritePin(Power_5V_GPIO_Port, Power_5V_Pin, GPIO_PIN_SET);
  HAL_GPIO_WritePin(Camera_ctrl_GPIO_Port, Camera_ctrl_Pin, GPIO_PIN_SET);
  HAL_TIM_Base_Start_IT(&htim14);
  HAL_TIM_Base_Start_IT(&htim13);

  /* USER CODE END 2 */

  /* Init scheduler */
  osKernelInitialize();  /* Call init function for freertos objects (in cmsis_os2.c) */
  MX_FREERTOS_Init();

  /* Start scheduler */
  osKernelStart();

  /* We should never get here as control is now taken by the scheduler */

  /* Infinite loop */
  while (1)
  {

  }
}

void SystemClock_Config(void)
{
  RCC_OscInitTypeDef RCC_OscInitStruct = {0};
  RCC_ClkInitTypeDef RCC_ClkInitStruct = {0};

  /** Supply configuration update enable
  */
  HAL_PWREx_ConfigSupply(PWR_LDO_SUPPLY);

  /** Configure the main internal regulator output voltage
  */
  __HAL_PWR_VOLTAGESCALING_CONFIG(PWR_REGULATOR_VOLTAGE_SCALE0);

  while(!__HAL_PWR_GET_FLAG(PWR_FLAG_VOSRDY)) {}

  /** Initializes the RCC Oscillators according to the specified parameters
  * in the RCC_OscInitTypeDef structure.
  */
  RCC_OscInitStruct.OscillatorType = RCC_OSCILLATORTYPE_HSI48|RCC_OSCILLATORTYPE_HSI
                              |RCC_OSCILLATORTYPE_LSI|RCC_OSCILLATORTYPE_HSE;
  RCC_OscInitStruct.HSEState = RCC_HSE_ON;
  RCC_OscInitStruct.HSIState = RCC_HSI_DIV1;
  RCC_OscInitStruct.HSICalibrationValue = 64;
  RCC_OscInitStruct.LSIState = RCC_LSI_ON;
  RCC_OscInitStruct.HSI48State = RCC_HSI48_ON;
  RCC_OscInitStruct.PLL.PLLState = RCC_PLL_ON;
  RCC_OscInitStruct.PLL.PLLSource = RCC_PLLSOURCE_HSE;
  RCC_OscInitStruct.PLL.PLLM = 2;
  RCC_OscInitStruct.PLL.PLLN = 40;
  RCC_OscInitStruct.PLL.PLLP = 1;
  RCC_OscInitStruct.PLL.PLLQ = 4;
  RCC_OscInitStruct.PLL.PLLR = 2;
  RCC_OscInitStruct.PLL.PLLRGE = RCC_PLL1VCIRANGE_3;
  RCC_OscInitStruct.PLL.PLLVCOSEL = RCC_PLL1VCOWIDE;
  RCC_OscInitStruct.PLL.PLLFRACN = 0;
  if (HAL_RCC_OscConfig(&RCC_OscInitStruct) != HAL_OK)
  {
    Error_Handler();
  }

  /** Initializes the CPU, AHB and APB buses clocks
  */
  RCC_ClkInitStruct.ClockType = RCC_CLOCKTYPE_HCLK|RCC_CLOCKTYPE_SYSCLK
                              |RCC_CLOCKTYPE_PCLK1|RCC_CLOCKTYPE_PCLK2
                              |RCC_CLOCKTYPE_D3PCLK1|RCC_CLOCKTYPE_D1PCLK1;
  RCC_ClkInitStruct.SYSCLKSource = RCC_SYSCLKSOURCE_PLLCLK;
  RCC_ClkInitStruct.SYSCLKDivider = RCC_SYSCLK_DIV1;
  RCC_ClkInitStruct.AHBCLKDivider = RCC_HCLK_DIV2;
  RCC_ClkInitStruct.APB3CLKDivider = RCC_APB3_DIV2;
  RCC_ClkInitStruct.APB1CLKDivider = RCC_APB1_DIV2;
  RCC_ClkInitStruct.APB2CLKDivider = RCC_APB2_DIV2;
  RCC_ClkInitStruct.APB4CLKDivider = RCC_APB4_DIV2;

  if (HAL_RCC_ClockConfig(&RCC_ClkInitStruct, FLASH_LATENCY_3) != HAL_OK)
  {
    Error_Handler();
  }
  HAL_RCC_MCOConfig(RCC_MCO1, RCC_MCO1SOURCE_HSI, RCC_MCODIV_1);
  HAL_RCC_MCOConfig(RCC_MCO2, RCC_MCO2SOURCE_SYSCLK, RCC_MCODIV_1);
}

 /* MPU Configuration */

void MPU_Config(void)
{
  MPU_Region_InitTypeDef MPU_InitStruct = {0};

  /* Disables the MPU */
  HAL_MPU_Disable();

  /** Initializes and configures the Region and the memory to be protected
  */
  MPU_InitStruct.Enable = MPU_REGION_ENABLE;
  MPU_InitStruct.Number = MPU_REGION_NUMBER0;
  MPU_InitStruct.BaseAddress = 0x08000000;
  MPU_InitStruct.Size = MPU_REGION_SIZE_1MB;
  MPU_InitStruct.SubRegionDisable = 0x0;
  MPU_InitStruct.TypeExtField = MPU_TEX_LEVEL1;
  MPU_InitStruct.AccessPermission = MPU_REGION_PRIV_RO;
  MPU_InitStruct.DisableExec = MPU_INSTRUCTION_ACCESS_ENABLE;
  MPU_InitStruct.IsShareable = MPU_ACCESS_NOT_SHAREABLE;
  MPU_InitStruct.IsCacheable = MPU_ACCESS_CACHEABLE;
  MPU_InitStruct.IsBufferable = MPU_ACCESS_NOT_BUFFERABLE;

  HAL_MPU_ConfigRegion(&MPU_InitStruct);

  /** Initializes and configures the Region and the memory to be protected
  */
  MPU_InitStruct.Number = MPU_REGION_NUMBER1;
  MPU_InitStruct.BaseAddress = 0x20000000;
  MPU_InitStruct.Size = MPU_REGION_SIZE_128MB;
  MPU_InitStruct.SubRegionDisable = 0xEE;
  MPU_InitStruct.AccessPermission = MPU_REGION_FULL_ACCESS;
  MPU_InitStruct.IsCacheable = MPU_ACCESS_NOT_CACHEABLE;

  HAL_MPU_ConfigRegion(&MPU_InitStruct);

  /** Initializes and configures the Region and the memory to be protected
  */
  MPU_InitStruct.Number = MPU_REGION_NUMBER2;
  HAL_MPU_ConfigRegion(&MPU_InitStruct);

  /** Initializes and configures the Region and the memory to be protected
  */
  MPU_InitStruct.Number = MPU_REGION_NUMBER3;
  HAL_MPU_ConfigRegion(&MPU_InitStruct);

  /** Initializes and configures the Region and the memory to be protected
  */
  MPU_InitStruct.Number = MPU_REGION_NUMBER4;
  HAL_MPU_ConfigRegion(&MPU_InitStruct);
  /* Enables the MPU */
  HAL_MPU_Enable(MPU_PRIVILEGED_DEFAULT);

}

void HAL_TIM_PeriodElapsedCallback(TIM_HandleTypeDef *htim)
{
  /* USER CODE BEGIN Callback 0 */
  static int i = 0;
  /* USER CODE END Callback 0 */
  if (htim->Instance == TIM23)
  {
    HAL_IncTick();
  }
  /* USER CODE BEGIN Callback 1 */
  uint8_t history = 4;
  if (htim->Instance == TIM13) // 1000HZ
  {
    IMU_Updata();
  }
  else if (htim->Instance == TIM14) // 200Hz
  {
    if (i == 0)
    {
      HAL_GPIO_WritePin(Camera_ctrl_GPIO_Port, Camera_ctrl_Pin, GPIO_PIN_SET);
      STM32_to_MINIPC();
      i = 1;
    }
    else
    {
      HAL_GPIO_WritePin(Camera_ctrl_GPIO_Port, Camera_ctrl_Pin, GPIO_PIN_RESET);
      i = 0;
    }
  }
  /* USER CODE END Callback 1 */
}

void Error_Handler(void)
{
  __disable_irq();
  while (1)
  {
  }
}

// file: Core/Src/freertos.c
/* USER CODE BEGIN Header */
/**
  ******************************************************************************
  * File Name          : freertos.c
  * Description        : Code for freertos applications
  ******************************************************************************
  * @attention
  *
  * Copyright (c) 2025 STMicroelectronics.
  * All rights reserved.
  *
  * This software is licensed under terms that can be found in the LICENSE file
  * in the root directory of this software component.
  * If no LICENSE file comes with this software, it is provided AS-IS.
  *
  ******************************************************************************
  */
/* USER CODE END Header */

#include "FreeRTOS.h"
#include "task.h"
#include "main.h"
#include "cmsis_os.h"

/* USER CODE BEGIN Includes */

#include "remote_control.h"
#include "Chassis.h"
#include "Gimbal.h"
#include "Global_status.h"
#include "Auto_control.h"
#include "shoot.h"
#include "music.h"

#include "referee_system.h"
#include "supercup.h"
#include "LED.h"
#include "DT7.h"
#include "VT13.h"
#include "motor.h"
#include <cmsis_os2.h>
#include "ui.h"

#include "iwdg.h"
#include "buzzer.h"
/* USER CODE END Includes */

/* USER CODE BEGIN Variables */
uint32_t color = 0;
/* USER CODE END Variables */
/* Definitions for Remote_control */
osThreadId_t Remote_controlHandle;
const osThreadAttr_t Remote_control_attributes = {
  .name = "Remote_control",
  .stack_size = 512 * 4,
  .priority = (osPriority_t) osPriorityNormal,
};
/* Definitions for Gimbal */
osThreadId_t GimbalHandle;
const osThreadAttr_t Gimbal_attributes = {
  .name = "Gimbal",
  .stack_size = 512 * 4,
  .priority = (osPriority_t) osPriorityLow,
};
/* Definitions for Chassis */
osThreadId_t ChassisHandle;
const osThreadAttr_t Chassis_attributes = {
  .name = "Chassis",
  .stack_size = 1024 * 4,
  .priority = (osPriority_t) osPriorityLow,
};
/* Definitions for Motor_control */
osThreadId_t Motor_controlHandle;
const osThreadAttr_t Motor_control_attributes = {
  .name = "Motor_control",
  .stack_size = 256 * 4,
  .priority = (osPriority_t) osPriorityLow,
};
/* Definitions for Shoot */
osThreadId_t ShootHandle;
const osThreadAttr_t Shoot_attributes = {
  .name = "Shoot",
  .stack_size = 256 * 4,
  .priority = (osPriority_t) osPriorityLow,
};
/* Definitions for Referee */
osThreadId_t RefereeHandle;
const osThreadAttr_t Referee_attributes = {
  .name = "Referee",
  .stack_size = 512 * 4,
  .priority = (osPriority_t) osPriorityLow,
};
/* Definitions for Log_and_debug */
osThreadId_t Log_and_debugHandle;
const osThreadAttr_t Log_and_debug_attributes = {
  .name = "Log_and_debug",
  .stack_size = 256 * 4,
  .priority = (osPriority_t) osPriorityLow,
};

void Remote_control_Task(void *argument);
void Gimbal_Task(void *argument);
void Chassis_Task(void *argument);
void Motor_control_Task(void *argument);
void Shoot_Task(void *argument);
void Referee_Task(void *argument);
void Log_and_debug_Task(void *argument);

extern void MX_USB_DEVICE_Init(void);
void MX_FREERTOS_Init(void); /* (MISRA C 2004 rule 8.1) */

/* Hook prototypes */
void vApplicationIdleHook(void);

/* USER CODE BEGIN 2 */
void vApplicationIdleHook( void )
{
   /* vApplicationIdleHook() will only be called if configUSE_IDLE_HOOK is set
   to 1 in FreeRTOSConfig.h. It will be called on each iteration of the idle
   task. It is essential that code added to this hook function never attempts
   to block in any way (for example, call xQueueReceive() with a block time
   specified, or call vTaskDelay()). If the application makes use of the
   vTaskDelete() API function (as this demo application does) then it is also
   important that vApplicationIdleHook() is permitted to return to its calling
   function, because it is the responsibility of the idle task to clean up
   memory allocated by the kernel to any task that has since been deleted. */
}
/* USER CODE END 2 */

void MX_FREERTOS_Init(void) {

  /* Create the thread(s) */
  /* creation of Remote_control */
  Remote_controlHandle = osThreadNew(Remote_control_Task, NULL, &Remote_control_attributes);

  /* creation of Gimbal */
  GimbalHandle = osThreadNew(Gimbal_Task, NULL, &Gimbal_attributes);

  /* creation of Chassis */
  ChassisHandle = osThreadNew(Chassis_Task, NULL, &Chassis_attributes);

  /* creation of Motor_control */
  Motor_controlHandle = osThreadNew(Motor_control_Task, NULL, &Motor_control_attributes);

  /* creation of Shoot */
  ShootHandle = osThreadNew(Shoot_Task, NULL, &Shoot_attributes);

  /* creation of Referee */
  RefereeHandle = osThreadNew(Referee_Task, NULL, &Referee_attributes);

  /* creation of Log_and_debug */
  Log_and_debugHandle = osThreadNew(Log_and_debug_Task, NULL, &Log_and_debug_attributes);

}

void Remote_control_Task(void *argument)
{
  /* init code for USB_DEVICE */
  MX_USB_DEVICE_Init();
  /* USER CODE BEGIN Remote_control_Task */

  /* Infinite loop */
  for(;;)
  {
    osDelay(1);
    Remote_Tasks();
    osDelay(1);
  }
  /* USER CODE END Remote_control_Task */
}

void Gimbal_Task(void *argument)
{
  /* USER CODE BEGIN Gimbal_Task */
  osDelay(500);
  Gimbal_Init();
  osDelay(500);
  /* Infinite loop */
  for(;;)
  {

    Gimbal_Tasks();
    osDelay(1);
  }
  /* USER CODE END Gimbal_Task */
}

void Chassis_Task(void *argument)
{
  /* USER CODE BEGIN Chassis_Task */
  osDelay(500);
#if (USE_CHASSIS_HELM != 0 || USE_CHASSIS_OMNI != 0)
  Chassis_Init();
#endif
  /* Infinite loop */
  for(;;)
  {
#if (USE_CHASSIS_HELM != 0 || USE_CHASSIS_OMNI != 0)
    Chassis_Tasks();
#endif
    Supercup_SendData();
    osDelay(1);
  }
  /* USER CODE END Chassis_Task */
}

void Motor_control_Task(void *argument)
{
  /* USER CODE BEGIN Motor_control_Task */
  /* Infinite loop */
  for(;;)
  {
  #if (USE_CHASSIS_HELM !=0 )
      if (Global.Control.mode != LOCK){
      DJIMotor_SendCurrent(CAN_20063508_1_4_ID, DJI_CAN_1);
      DJIMotor_SendCurrent(CAN_20063508_1_4_ID, DJI_CAN_3);
      DJIMotor_SendCurrent(CAN_6020_1_4_ID, DJI_CAN_1);
      DJIMotor_SendCurrent(CAN_6020_1_4_ID, DJI_CAN_3);
      }
  #endif
  #if(USE_CHASSIS_OMNI !=0)
      if (Global.Control.mode != LOCK){
      DJIMotor_SendCurrent(CAN_20063508_1_4_ID, DJI_CAN_1);
      }
  #endif
  #if (USE_SHOOT != 0)
      DJIMotor_SendCurrent(CAN_20063508_1_4_ID, DJI_CAN_1);
      DJIMotor_SendCurrent(CAN_20063508_1_4_ID, DJI_CAN_3);
  #endif
  #if (USE_GIMBAL != 0)
      DMMotor_SendCtrl(DM_CAN_3_2);
  #endif
    if (Global.Chassis.input.reset != 1)
      HAL_IWDG_Refresh(&hiwdg1);
    // Fdcanx_SendData(&hfdcan1,0x200,can_data,8);
    osDelay(1);
  }
  /* USER CODE END Motor_control_Task */
}

void Shoot_Task(void *argument)
{
  /* USER CODE BEGIN Shoot_Task */
  osDelay(500);
  Shoot_Init();
  /* Infinite loop */
  for(;;)
  {

  if (Global.Auto.mode != NONE && Global.Auto.input.Auto_control_online > 0 && Global.Auto.input.control_mode != 0)
  Auto_Control();
  Shoot_Tasks();
  osDelay(1);

  }
  /* USER CODE END Shoot_Task */
}

void Referee_Task(void *argument)
{
  /* USER CODE BEGIN Referee_Task */
  Refree_system_init();
  // �ȴ�����ϵͳ���ߣ���ȡ��ȷ��robot_id
  while(Referee_data.robot_id == 0) {
    Referee_unpack_fifo_data(&referee_fifo, &referee_unpack_obj);
    osDelay(100);
  }
  ui_self_id = Referee_data.robot_id;
  ui_init_helm();
  osDelay(200); // �ȴ�����ϵͳ����ADD֡
  /* Infinite loop */
  int reinit_cnt = 0;
  for(;;)
  {
    Referee_unpack_fifo_data(&referee_fifo, &referee_unpack_obj);
    ui_self_id = Referee_data.robot_id;
    Supercapui_change(cap.remain_vol);
    Shootui_change();
    #if (USE_CHASSIS_HELM != 0)
    Chassisui_change(chassis.relative_angle);
    #elif (USE_CHASSIS_OMNI != 0)
    Chassisui_change(Chassis.chassis_yaw_angle);
    #else
    Chassisui_change(0);
    #endif
    Autoui_change();
    // ÿ10�����·���һ��ADD����ֹͼ�ζ�ʧ
    reinit_cnt++;
    if (reinit_cnt >= 100) {
      reinit_cnt = 0;
      ui_init_helm();
      osDelay(100);
    }
    ui_updata();
    osDelay(100);
  }
  /* USER CODE END Referee_Task */
}

void Log_and_debug_Task(void *argument)
{
  /* USER CODE BEGIN Log_and_debug_Task */
  LED_ShowColor(RED);
  osDelay(500);
  LED_ShowColor(BLUE);
  osDelay(500);
  LED_ShowColor(GREEN);
  /* Infinite loop */
  for(;;)
  {

  }
  /* USER CODE END Log_and_debug_Task */
}
